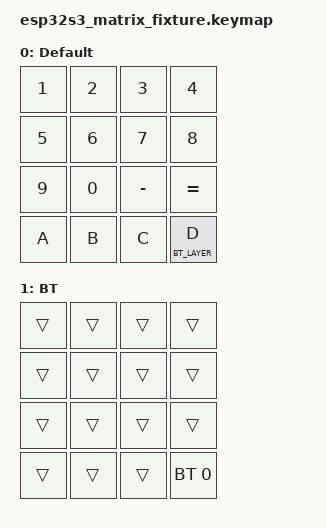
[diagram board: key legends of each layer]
#include <behaviors.dtsi>
#include <dt-bindings/zmk/keys.h>
#include <dt-bindings/zmk/bt.h>

#define DEFAULT  0
#define BT_LAYER 1

/ {
    keymap: keymap {
        compatible = "zmk,keymap";

        default_layer {
            display-name = "Default";
            bindings = <
                &kp NUMBER_1 &kp NUMBER_2 &kp NUMBER_3 &kp NUMBER_4
                &kp NUMBER_5 &kp NUMBER_6 &kp NUMBER_7 &kp NUMBER_8
                &kp NUMBER_9 &kp NUMBER_0 &kp MINUS    &kp EQUAL
                &kp A        &kp B        &kp C        &lt BT_LAYER D
            >;
        };

        bt_layer {
            display-name = "BT";
            bindings = <
                &trans &trans &trans &trans
                &trans &trans &trans &trans
                &trans &trans &trans &trans
                &trans &trans &trans &bt BT_SEL 0
            >;
        };
    };
};
